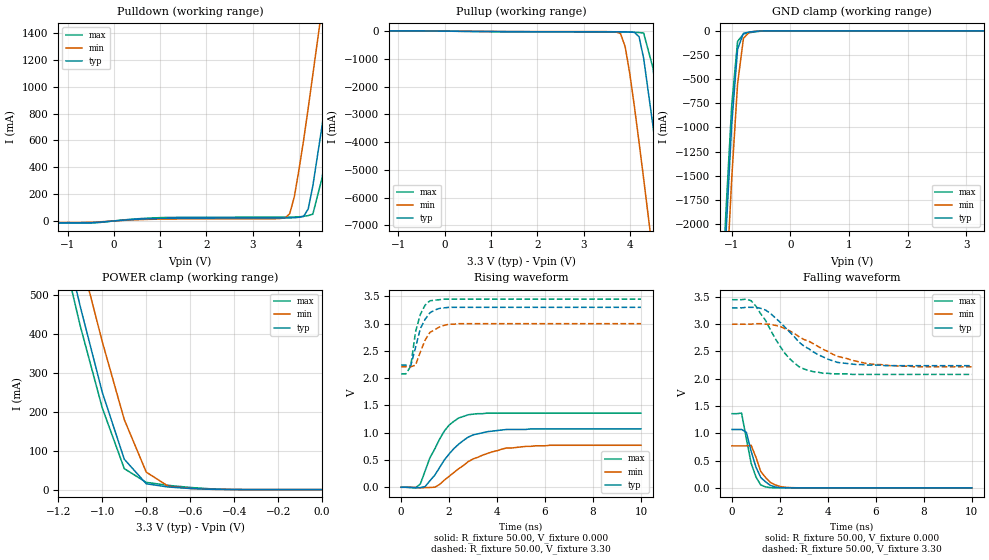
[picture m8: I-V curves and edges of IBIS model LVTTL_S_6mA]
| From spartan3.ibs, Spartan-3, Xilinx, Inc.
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|   Model LVTTL_S_6mA
[Model]   LVTTL_S_6mA
Model_type   I/O
Polarity   Non-Inverting
Enable   Active-Low
Vinl =   0.80V
Vinh =   2.00V
Vmeas =   1.40V
Cref =  0pF
Vref =  0.000V
Rref =   1.00M
C_comp   6.38pF   4.60pF   8.23pF
[Temperature Range]   25.00   85.00   0.000
[Voltage Range]   3.30V   3.00V   3.45V
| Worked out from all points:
|   slope of the pulldown table from 0 to 0.495 V, typ, clamps not added: 40.9 ohm
|   slope of the pullup table from 0 to 0.495 V, typ, clamps not added: 62.3 ohm
|   GND clamp passes 1 mA (typ) near -0.46 V on its own axis
|   POWER clamp passes 1 mA (typ) near -0.52 V on its own axis
|   rising waveform, R_fixture 50.00, V_fixture 0.000: 20-80 % time 1.2ns typ, 1.7ns min, 929ps max; typ from 0 V to 1.07 V
|   rising waveform, R_fixture 50.00, V_fixture 3.30: 20-80 % time 479ps typ, 501ps min, 365ps max; typ from 2.24 V to 3.3 V
|   falling waveform, R_fixture 50.00, V_fixture 0.000: 20-80 % time 481ps typ, 531ps min, 422ps max; typ from 1.07 V to 0 V
|   falling waveform, R_fixture 50.00, V_fixture 3.30: 20-80 % time 1.67ns typ, 2.2ns min, 1.22ns max; typ from 3.3 V to 2.24 V
[Pulldown]
| voltage   I(typ)   I(min)   I(max)
-3.3V     -14.57mA   -11.42mA   -16.31mA
3.7V      22.14mA    22.82mA    28.83mA
3.8V      22.47mA    53.32mA    29.02mA
3.9V      23.79mA    180mA      29.41mA
4.1V      33.75mA    600mA      34.33mA
4.2V      88.5mA     840mA      39.82mA
4.3V      260mA      1.09A      50.51mA
4.5V      710mA      1.59A      320mA
4.7V      1.21A      2.1A       790mA
4.9V      1.72A      2.61A      1.29A
5.1V      2.23A      3.13A      1.8A
6.6V      6.17A      7.07A      5.73A
[Pullup]
| voltage   I(typ)   I(min)   I(max)
-3.3V     10.87mA    8.12mA     12.17mA
3.8V      -24.16mA   -89.19mA   -31.31mA
3.9V      -26.71mA   -560mA     -31.77mA
4V        -32.25mA   -1.53A     -34.18mA
4.1V      -44.57mA   -2.72A     -40.25mA
4.2V      -200mA     -4A        -49.28mA
4.3V      -980mA     -5.32A     -69.86mA
4.5V      -3.4A      -8.03A     -1.32A
4.7V      -6.08A     -10.8A     -3.82A
4.9V      -8.84A     -13.59A    -6.54A
5.1V      -11.63A    -16.41A    -9.31A
6.6V      -33A       -37.78A    -30.65A
[GND_clamp]
| voltage   I(typ)   I(min)   I(max)
-3.3V     -33A       -33.48A    -32.8A
-1.2V     -3.4A      -4A        -3.16A
-1.1V     -2.13A     -2.72A     -1.89A
-1V       -970mA     -1.53A     -770mA
-900mV    -190mA     -550mA     -110mA
-800mV    -25.8mA    -77.79mA   -32.11mA
-700mV    -12.47mA   -13.34mA   -19.95mA
-500mV    -1.51mA    -1.64mA    -3.76mA
3.3V      1.14nA     14.08uA    3.33nA
[POWER_clamp]
| voltage   I(typ)   I(min)   I(max)
-3.3V     6.17A      6.28A      6.12A
-1.2V     710mA      840mA      660mA
-1.1V     470mA      600mA      420mA
-1V       250mA      380mA      210mA
-900mV    78.2mA     180mA      53.88mA
-800mV    14.96mA    44.93mA    18.61mA
-700mV    6.69mA     8.78mA     10.98mA
-600mV    2.8mA      2.96mA     5.51mA
-400mV    81.59uA    140uA      290uA
0V        1.14nA     6.95nA     4.38nA
[Ramp]
| variable   typ   min   max
dV/dt_r   0.64/1.21n   0.46/1.70n   0.82/0.88n
dV/dt_f   0.64/1.66n   0.47/2.20n   0.82/1.17n
R_load = 50.00
[Rising Waveform]
R_fixture = 50.00
V_fixture = 0.000
| time   V(typ)   V(min)   V(max)
0s        0V         0V         0V
600ps     -10.47mV   -3.46mV    -7.31mV
800ps     -6.76mV    -10.9mV    59.28mV
1ns       13.08mV    -6.52mV    300mV
1.2ns     120mV      -3.93mV    540mV
1.8ns     500mV      130mV      1.03V
2.4ns     790mV      340mV      1.27V
2.8ns     920mV      470mV      1.33V
4.4ns     1.06V      720mV      1.36V
10ns      1.07V      770mV      1.36V
[Rising Waveform]
R_fixture = 50.00
V_fixture = 3.30
V_fixture_min = 3.00
V_fixture_max = 3.45
| time   V(typ)   V(min)   V(max)
0s        2.24V      2.21V      2.08V
200ps     2.24V      2.21V      2.08V
400ps     2.23V      2.21V      2.22V
600ps     2.56V      2.24V      2.85V
800ps     2.91V      2.48V      3.17V
1ns       3.08V      2.7V       3.34V
1.2ns     3.2V       2.84V      3.42V
1.8ns     3.29V      2.97V      3.45V
2.4ns     3.3V       3V         3.45V
10ns      3.3V       3V         3.45V
[Falling Waveform]
R_fixture = 50.00
V_fixture = 0.000
| time   V(typ)   V(min)   V(max)
0s        1.07V      770mV      1.36V
400ps     1.07V      770mV      1.37V
600ps     1.02V      770mV      900mV
800ps     670mV      780mV      450mV
1ns       380mV      560mV      200mV
1.2ns     190mV      300mV      52.87mV
1.4ns     110mV      190mV      17.67mV
1.8ns     16.4mV     54.44mV    1.26mV
2.4ns     1.22mV     5.47mV     490uV
10ns      -520nV     1.83uV     0V
[Falling Waveform]
R_fixture = 50.00
V_fixture = 3.30
V_fixture_min = 3.00
V_fixture_max = 3.45
| time   V(typ)   V(min)   V(max)
0s        3.3V       3V         3.45V
800ps     3.31V      3V         3.43V
1.4ns     3.26V      3V         3.07V
2.2ns     2.95V      2.92V      2.47V
2.8ns     2.67V      2.77V      2.22V
3.2ns     2.55V      2.69V      2.15V
4.4ns     2.3V       2.41V      2.09V
5.6ns     2.25V      2.28V      2.08V
7.6ns     2.24V      2.22V      2.08V
10ns      2.24V      2.22V      2.08V
